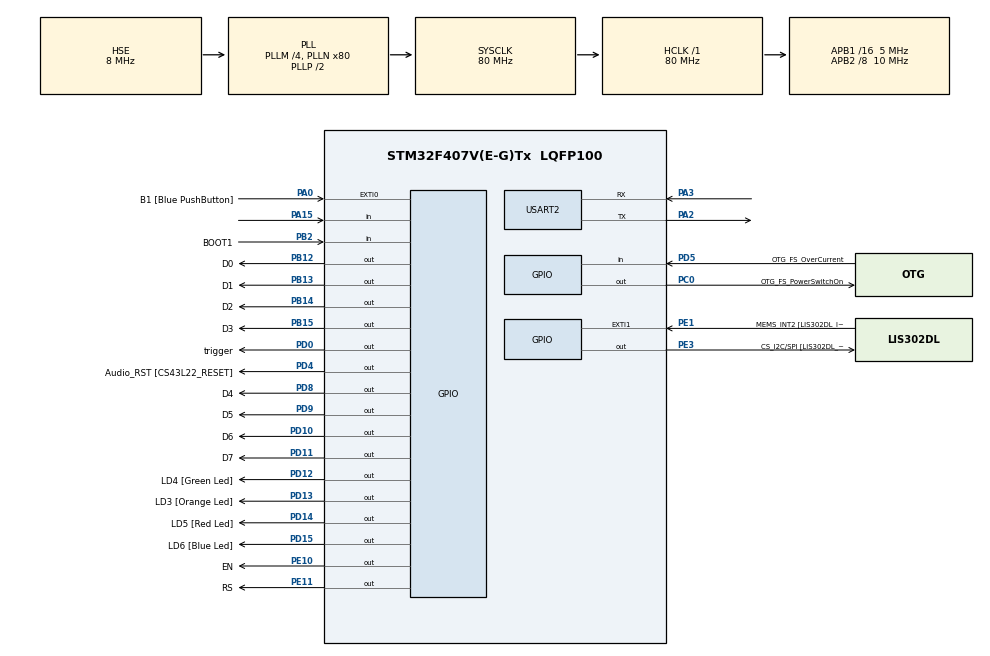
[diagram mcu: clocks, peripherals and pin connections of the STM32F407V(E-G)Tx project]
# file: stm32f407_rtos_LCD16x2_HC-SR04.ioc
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FREERTOS.Queues01=myQueue01,10,float,0,Dynamic,NULL,NULL
FREERTOS.Tasks01=defaultTask,24,128,StartDefaultTask,Default,NULL,Dynamic,NULL,NULL;myTask02,40,512,StartTask02,Default,NULL,Dynamic,NULL,NULL;myTask03,24,512,StartTask03,Default,NULL,Dynamic,NULL,NULL
FREERTOS.configUSE_NEWLIB_REENTRANT=1
Mcu.Family=STM32F4
Mcu.Name=STM32F407V(E-G)Tx
Mcu.Package=LQFP100
NVIC.PriorityGroup=NVIC_PRIORITYGROUP_4
NVIC.TIM1_UP_TIM10_IRQn=true\:15\:0\:false\:false\:true\:false\:false\:true\:true
NVIC.TimeBase=TIM1_UP_TIM10_IRQn
NVIC.TimeBaseIP=TIM1
PA0-WKUP.GPIO_Label=B1 [Blue PushButton]
PA0-WKUP.Signal=GPXTI0
PA10.GPIO_Label=OTG_FS_ID
PA10.GPIO_Mode=GPIO_MODE_AF_PP
PA10.GPIO_PuPd=GPIO_NOPULL
PA10.GPIO_Speed=GPIO_SPEED_FREQ_LOW
PA10.Signal=USB_OTG_FS_ID
PA11.GPIO_Label=OTG_FS_DM
PA11.GPIO_Mode=GPIO_MODE_AF_PP
PA11.GPIO_PuPd=GPIO_NOPULL
PA11.GPIO_Speed=GPIO_SPEED_FREQ_LOW
PA11.Signal=USB_OTG_FS_DM
PA12.GPIO_Label=OTG_FS_DP
PA12.GPIO_Mode=GPIO_MODE_AF_PP
PA12.GPIO_PuPd=GPIO_NOPULL
PA12.GPIO_Speed=GPIO_SPEED_FREQ_LOW
PA12.Signal=USB_OTG_FS_DP
PA13.GPIO_Label=SWDIO
PA13.Signal=SYS_JTMS-SWDIO
PA14.GPIO_Label=SWCLK
PA14.Signal=SYS_JTCK-SWCLK
PA15.Signal=GPIO_Input
PA2.Mode=Asynchronous
PA2.Signal=USART2_TX
PA3.Mode=Asynchronous
PA3.Signal=USART2_RX
PA4.GPIO_Label=I2S3_WS [CS43L22_LRCK]
PA4.GPIO_Mode=GPIO_MODE_AF_PP
PA4.GPIO_PuPd=GPIO_NOPULL
PA4.GPIO_Speed=GPIO_SPEED_FREQ_LOW
PA4.Signal=I2S3_WS
PA5.GPIO_Label=SPI1_SCK [LIS302DL_SCL/SPC]
PA5.GPIO_Mode=GPIO_MODE_AF_PP
PA5.GPIO_PuPd=GPIO_NOPULL
PA5.GPIO_Speed=GPIO_SPEED_FREQ_LOW
PA5.Signal=SPI1_SCK
PA6.GPIO_Label=SPI1_MISO [LIS302DL_SDO]
PA6.GPIO_Mode=GPIO_MODE_AF_PP
PA6.GPIO_PuPd=GPIO_NOPULL
PA6.GPIO_Speed=GPIO_SPEED_FREQ_LOW
PA6.Signal=SPI1_MISO
PA7.GPIO_Label=SPI1_MOSI [LIS302DL_SDA/SDI/SDO]
PA7.GPIO_Mode=GPIO_MODE_AF_PP
PA7.GPIO_PuPd=GPIO_NOPULL
PA7.GPIO_Speed=GPIO_SPEED_FREQ_LOW
PA7.Signal=SPI1_MOSI
PA9.GPIO_Label=VBUS_FS
PA9.GPIO_Mode=GPIO_MODE_INPUT
PA9.GPIO_PuPd=GPIO_NOPULL
PA9.Signal=USB_OTG_FS_VBUS
PB10.GPIO_Label=CLK_IN [MP45DT02_CLK]
PB10.GPIO_Mode=GPIO_MODE_AF_PP
PB10.GPIO_PuPd=GPIO_NOPULL
PB10.GPIO_Speed=GPIO_SPEED_FREQ_LOW
PB10.Signal=I2S2_CK
PB12.GPIO_Label=D0
PB12.Signal=GPIO_Output
PB13.GPIO_Label=D1
PB13.Signal=GPIO_Output
PB14.GPIO_Label=D2
PB14.Signal=GPIO_Output
PB15.GPIO_Label=D3
PB15.Signal=GPIO_Output
PB2.GPIO_Label=BOOT1
PB2.GPIO_Mode=GPIO_MODE_INPUT
PB2.GPIO_PuPd=GPIO_NOPULL
PB2.Signal=GPIO_Input
PB3.GPIO_Label=SWO
PB3.Signal=SYS_JTDO-SWO
PB6.GPIO_Label=Audio_SCL [CS43L22_SCL]
PB6.GPIO_Mode=GPIO_MODE_AF_OD
PB6.GPIO_PuPd=GPIO_NOPULL
PB6.GPIO_Speed=GPIO_SPEED_FREQ_LOW
PB6.Signal=I2C1_SCL
PB9.GPIO_Label=Audio_SDA [CS43L22_SDA]
PB9.GPIO_Mode=GPIO_MODE_AF_OD
PB9.GPIO_PuPd=GPIO_NOPULL
PB9.GPIO_Speed=GPIO_SPEED_FREQ_LOW
PB9.Signal=I2C1_SDA
PC0.GPIO_Label=OTG_FS_PowerSwitchOn
PC0.GPIO_PuPd=GPIO_NOPULL
PC0.GPIO_Speed=GPIO_SPEED_FREQ_LOW
PC0.PinState=GPIO_PIN_SET
PC0.Signal=GPIO_Output
PC10.GPIO_Label=I2S3_SCK [CS43L22_SCLK]
PC10.GPIO_Mode=GPIO_MODE_AF_PP
PC10.GPIO_PuPd=GPIO_NOPULL
PC10.GPIO_Speed=GPIO_SPEED_FREQ_LOW
PC10.Signal=I2S3_CK
PC12.GPIO_Label=I2S3_SD [CS43L22_SDIN]
PC12.GPIO_Mode=GPIO_MODE_AF_PP
PC12.GPIO_PuPd=GPIO_NOPULL
PC12.GPIO_Speed=GPIO_SPEED_FREQ_LOW
PC12.Signal=I2S3_SD
PC14-OSC32_IN.GPIO_Label=PC14-OSC32_IN
PC14-OSC32_IN.Signal=RCC_OSC32_IN
PC15-OSC32_OUT.GPIO_Label=PC15-OSC32_OUT
PC15-OSC32_OUT.Signal=RCC_OSC32_OUT
PC3.GPIO_Label=PDM_OUT [MP45DT02_DOUT]
PC3.GPIO_Mode=GPIO_MODE_AF_PP
PC3.GPIO_PuPd=GPIO_NOPULL
PC3.GPIO_Speed=GPIO_SPEED_FREQ_LOW
PC3.Signal=I2S2_SD
PC7.GPIO_Label=I2S3_MCK [CS43L22_MCLK]
PC7.GPIO_Mode=GPIO_MODE_AF_PP
PC7.GPIO_PuPd=GPIO_NOPULL
PC7.GPIO_Speed=GPIO_SPEED_FREQ_LOW
PC7.Signal=I2S3_MCK
PD0.GPIO_Label=trigger
PD0.Signal=GPIO_Output
PD10.GPIO_Label=D6
PD10.Signal=GPIO_Output
PD11.GPIO_Label=D7
PD11.Signal=GPIO_Output
PD12.GPIO_Label=LD4 [Green Led]
PD12.GPIO_PuPd=GPIO_NOPULL
PD12.GPIO_Speed=GPIO_SPEED_FREQ_LOW
PD12.Signal=GPIO_Output
PD13.GPIO_Label=LD3 [Orange Led]
PD13.GPIO_PuPd=GPIO_NOPULL
PD13.GPIO_Speed=GPIO_SPEED_FREQ_LOW
PD13.Signal=GPIO_Output
PD14.GPIO_Label=LD5 [Red Led]
PD14.GPIO_PuPd=GPIO_NOPULL
PD14.GPIO_Speed=GPIO_SPEED_FREQ_LOW
PD14.Signal=GPIO_Output
PD15.GPIO_Label=LD6 [Blue Led]
PD15.GPIO_PuPd=GPIO_NOPULL
PD15.GPIO_Speed=GPIO_SPEED_FREQ_LOW
PD15.Signal=GPIO_Output
PD4.GPIO_Label=Audio_RST [CS43L22_RESET]
PD4.GPIO_PuPd=GPIO_NOPULL
PD4.GPIO_Speed=GPIO_SPEED_FREQ_LOW
PD4.Signal=GPIO_Output
PD5.GPIO_Label=OTG_FS_OverCurrent
PD5.GPIO_Mode=GPIO_MODE_INPUT
PD5.GPIO_PuPd=GPIO_NOPULL
PD5.Signal=GPIO_Input
PD8.GPIO_Label=D4
PD8.Signal=GPIO_Output
PD9.GPIO_Label=D5
PD9.Signal=GPIO_Output
PE1.GPIO_Label=MEMS_INT2 [LIS302DL_INT2]
PE1.GPIO_ModeDefaultEXTI=GPIO_MODE_EVT_RISING
PE1.GPIO_PuPd=GPIO_NOPULL
PE1.Signal=GPXTI1
PE10.GPIO_Label=EN
PE10.Signal=GPIO_Output
PE11.GPIO_Label=RS
PE11.Signal=GPIO_Output
PE3.GPIO_Label=CS_I2C/SPI [LIS302DL_CS_I2C/SPI]
PE3.GPIO_PuPd=GPIO_NOPULL
PE3.GPIO_Speed=GPIO_SPEED_FREQ_LOW
PE3.Signal=GPIO_Output
PH0-OSC_IN.GPIO_Label=PH0-OSC_IN
PH0-OSC_IN.Mode=HSE-External-Oscillator
PH0-OSC_IN.Signal=RCC_OSC_IN
PH1-OSC_OUT.GPIO_Label=PH1-OSC_OUT
PH1-OSC_OUT.Mode=HSE-External-Oscillator
PH1-OSC_OUT.Signal=RCC_OSC_OUT
ProjectManager.HeapSize=0x200
ProjectManager.StackSize=0x400
ProjectManager.TargetToolchain=STM32CubeIDE
RCC.48MHZClocksFreq_Value=22857142.85714286
RCC.AHBFreq_Value=80000000
RCC.APB1CLKDivider=RCC_HCLK_DIV16
RCC.APB1Freq_Value=5000000
RCC.APB1TimFreq_Value=10000000
RCC.APB2CLKDivider=RCC_HCLK_DIV8
RCC.APB2Freq_Value=10000000
RCC.APB2TimFreq_Value=20000000
RCC.CortexFreq_Value=80000000
RCC.HCLKFreq_Value=80000000
RCC.HSE_VALUE=8000000
RCC.HSI_VALUE=16000000
RCC.LSE_VALUE=32768
RCC.PLLM=4
RCC.PLLN=80
RCC.PLLQ=7
RCC.PLLSourceVirtual=RCC_PLLSOURCE_HSE
RCC.SYSCLKFreq_VALUE=80000000
RCC.SYSCLKSource=RCC_SYSCLKSOURCE_PLLCLK
RCC.VCOOutputFreq_Value=160000000
TIM2.Prescaler=9
USART2.VirtualMode=VM_ASYNC
VP_FREERTOS_VS_CMSIS_V2.Mode=CMSIS_V2
VP_SYS_VS_tim1.Mode=TIM1
VP_TIM2_VS_ClockSourceINT.Mode=Internal
board=STM32F407G-DISC1

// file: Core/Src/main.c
/* USER CODE BEGIN Header */
/**
  ******************************************************************************
  * @file           : main.c
  * @brief          : Main program body
  ******************************************************************************
  * @attention
  *
  * Copyright (c) 2024 STMicroelectronics.
  * All rights reserved.
  *
  * This software is licensed under terms that can be found in the LICENSE file
  * in the root directory of this software component.
  * If no LICENSE file comes with this software, it is provided AS-IS.
  *
  ******************************************************************************
  */
/* USER CODE END Header */
#include "main.h"
#include "cmsis_os.h"

/* USER CODE BEGIN Includes */
#include "lcd16x2.h"
#include <stdio.h>
#include <string.h>
/* USER CODE END Includes */

/* USER CODE BEGIN PD */
#define TRIG_PIN GPIO_PIN_0
#define ECHO_PIN GPIO_PIN_15
#define TRIG_PORT GPIOD
#define ECHO_PORT GPIOA
#define TRIGGER_DELAY_US 10 // Trigger pulse duration in microseconds
/* USER CODE END PD */

/* USER CODE BEGIN PM */
uint32_t pMillis;

float val1 = 0;
float val2 = 0;
float distance  = 0;
char string[15];
/* USER CODE END PM */

TIM_HandleTypeDef htim2;

UART_HandleTypeDef huart2;

/* Definitions for defaultTask */
osThreadId_t defaultTaskHandle;
const osThreadAttr_t defaultTask_attributes = {
  .name = "defaultTask",
  .stack_size = 128 * 4,
  .priority = (osPriority_t) osPriorityNormal,
};
/* Definitions for myTask02 */
osThreadId_t myTask02Handle;
const osThreadAttr_t myTask02_attributes = {
  .name = "myTask02",
  .stack_size = 512 * 4,
  .priority = (osPriority_t) osPriorityHigh,
};
/* Definitions for myTask03 */
osThreadId_t myTask03Handle;
const osThreadAttr_t myTask03_attributes = {
  .name = "myTask03",
  .stack_size = 512 * 4,
  .priority = (osPriority_t) osPriorityNormal,
};
/* Definitions for myQueue01 */
osMessageQueueId_t myQueue01Handle;
const osMessageQueueAttr_t myQueue01_attributes = {
  .name = "myQueue01"
};

void SystemClock_Config(void);
static void MX_GPIO_Init(void);
static void MX_TIM2_Init(void);
static void MX_USART2_UART_Init(void);
void StartDefaultTask(void *argument);
void StartTask02(void *argument);
void StartTask03(void *argument);

/* USER CODE BEGIN 0 */
void Delay_10us(void);
/* USER CODE END 0 */

int main(void)
{

  /* MCU Configuration--------------------------------------------------------*/

  /* Reset of all peripherals, Initializes the Flash interface and the Systick. */
  HAL_Init();

  /* Configure the system clock */
  SystemClock_Config();

  /* Initialize all configured peripherals */
  MX_GPIO_Init();
  MX_TIM2_Init();
  MX_USART2_UART_Init();
  /* USER CODE BEGIN 2 */

  /*

   lcd16x2_init_4bits(RS_GPIO_Port, RS_Pin, EN_Pin, //One Port
 		  	  	  	 D4_GPIO_Port, D4_Pin, D5_Pin, D6_Pin, D7_Pin); //One Port
   lcd16x2_printf("Hello World");
   HAL_Delay(3000);

   */

  /* USER CODE END 2 */

  /* Init scheduler */
  osKernelInitialize();

  /* Create the queue(s) */
  /* creation of myQueue01 */
  myQueue01Handle = osMessageQueueNew (10, sizeof(float), &myQueue01_attributes);

  /* Create the thread(s) */
  /* creation of defaultTask */
  defaultTaskHandle = osThreadNew(StartDefaultTask, NULL, &defaultTask_attributes);

  /* creation of myTask02 */
  myTask02Handle = osThreadNew(StartTask02, NULL, &myTask02_attributes);

  /* creation of myTask03 */
  myTask03Handle = osThreadNew(StartTask03, NULL, &myTask03_attributes);

  /* USER CODE BEGIN RTOS_THREADS */
  /* add threads, ... */
  char buffer[50];
           snprintf(buffer, sizeof(buffer), "Handle initialized\r\n");
           HAL_UART_Transmit(&huart2, (uint8_t*)buffer, strlen(buffer), HAL_MAX_DELAY);
  /* USER CODE END RTOS_THREADS */

  /* Start scheduler */
  osKernelStart();

  /* We should never get here as control is now taken by the scheduler */
  /* Infinite loop */
  while (1)
  {

  }
}

void SystemClock_Config(void)
{
  RCC_OscInitTypeDef RCC_OscInitStruct = {0};
  RCC_ClkInitTypeDef RCC_ClkInitStruct = {0};

  /** Configure the main internal regulator output voltage
  */
  __HAL_RCC_PWR_CLK_ENABLE();
  __HAL_PWR_VOLTAGESCALING_CONFIG(PWR_REGULATOR_VOLTAGE_SCALE1);

  /** Initializes the RCC Oscillators according to the specified parameters
  * in the RCC_OscInitTypeDef structure.
  */
  RCC_OscInitStruct.OscillatorType = RCC_OSCILLATORTYPE_HSE;
  RCC_OscInitStruct.HSEState = RCC_HSE_ON;
  RCC_OscInitStruct.PLL.PLLState = RCC_PLL_ON;
  RCC_OscInitStruct.PLL.PLLSource = RCC_PLLSOURCE_HSE;
  RCC_OscInitStruct.PLL.PLLM = 4;
  RCC_OscInitStruct.PLL.PLLN = 80;
  RCC_OscInitStruct.PLL.PLLP = RCC_PLLP_DIV2;
  RCC_OscInitStruct.PLL.PLLQ = 7;
  if (HAL_RCC_OscConfig(&RCC_OscInitStruct) != HAL_OK)
  {
    Error_Handler();
  }

  /** Initializes the CPU, AHB and APB buses clocks
  */
  RCC_ClkInitStruct.ClockType = RCC_CLOCKTYPE_HCLK|RCC_CLOCKTYPE_SYSCLK
                              |RCC_CLOCKTYPE_PCLK1|RCC_CLOCKTYPE_PCLK2;
  RCC_ClkInitStruct.SYSCLKSource = RCC_SYSCLKSOURCE_PLLCLK;
  RCC_ClkInitStruct.AHBCLKDivider = RCC_SYSCLK_DIV1;
  RCC_ClkInitStruct.APB1CLKDivider = RCC_HCLK_DIV16;
  RCC_ClkInitStruct.APB2CLKDivider = RCC_HCLK_DIV8;

  if (HAL_RCC_ClockConfig(&RCC_ClkInitStruct, FLASH_LATENCY_2) != HAL_OK)
  {
    Error_Handler();
  }
}

static void MX_TIM2_Init(void)
{

  TIM_ClockConfigTypeDef sClockSourceConfig = {0};
  TIM_MasterConfigTypeDef sMasterConfig = {0};

  htim2.Instance = TIM2;
  htim2.Init.Prescaler = 9;
  htim2.Init.CounterMode = TIM_COUNTERMODE_UP;
  htim2.Init.Period = 4294967295;
  htim2.Init.ClockDivision = TIM_CLOCKDIVISION_DIV1;
  htim2.Init.AutoReloadPreload = TIM_AUTORELOAD_PRELOAD_DISABLE;
  if (HAL_TIM_Base_Init(&htim2) != HAL_OK)
  {
    Error_Handler();
  }
  sClockSourceConfig.ClockSource = TIM_CLOCKSOURCE_INTERNAL;
  if (HAL_TIM_ConfigClockSource(&htim2, &sClockSourceConfig) != HAL_OK)
  {
    Error_Handler();
  }
  sMasterConfig.MasterOutputTrigger = TIM_TRGO_RESET;
  sMasterConfig.MasterSlaveMode = TIM_MASTERSLAVEMODE_DISABLE;
  if (HAL_TIMEx_MasterConfigSynchronization(&htim2, &sMasterConfig) != HAL_OK)
  {
    Error_Handler();
  }

}

static void MX_USART2_UART_Init(void)
{

  huart2.Instance = USART2;
  huart2.Init.BaudRate = 115200;
  huart2.Init.WordLength = UART_WORDLENGTH_8B;
  huart2.Init.StopBits = UART_STOPBITS_1;
  huart2.Init.Parity = UART_PARITY_NONE;
  huart2.Init.Mode = UART_MODE_TX_RX;
  huart2.Init.HwFlowCtl = UART_HWCONTROL_NONE;
  huart2.Init.OverSampling = UART_OVERSAMPLING_16;
  if (HAL_UART_Init(&huart2) != HAL_OK)
  {
    Error_Handler();
  }

}

static void MX_GPIO_Init(void)
{
  GPIO_InitTypeDef GPIO_InitStruct = {0};

  /* GPIO Ports Clock Enable */
  __HAL_RCC_GPIOE_CLK_ENABLE();
  __HAL_RCC_GPIOC_CLK_ENABLE();
  __HAL_RCC_GPIOH_CLK_ENABLE();
  __HAL_RCC_GPIOA_CLK_ENABLE();
  __HAL_RCC_GPIOB_CLK_ENABLE();
  __HAL_RCC_GPIOD_CLK_ENABLE();

  /*Configure GPIO pin Output Level */
  HAL_GPIO_WritePin(GPIOE, CS_I2C_SPI_Pin|EN_Pin|RS_Pin, GPIO_PIN_RESET);

  /*Configure GPIO pin Output Level */
  HAL_GPIO_WritePin(OTG_FS_PowerSwitchOn_GPIO_Port, OTG_FS_PowerSwitchOn_Pin, GPIO_PIN_SET);

  /*Configure GPIO pin Output Level */
  HAL_GPIO_WritePin(GPIOB, D0_Pin|D1_Pin|D2_Pin|D3_Pin, GPIO_PIN_RESET);

  /*Configure GPIO pin Output Level */
  HAL_GPIO_WritePin(GPIOD, D4_Pin|D5_Pin|D6_Pin|D7_Pin
                          |LD4_Pin|LD3_Pin|LD5_Pin|LD6_Pin
                          |trigger_Pin|Audio_RST_Pin, GPIO_PIN_RESET);

  /*Configure GPIO pins : CS_I2C_SPI_Pin EN_Pin RS_Pin */
  GPIO_InitStruct.Pin = CS_I2C_SPI_Pin|EN_Pin|RS_Pin;
  GPIO_InitStruct.Mode = GPIO_MODE_OUTPUT_PP;
  GPIO_InitStruct.Pull = GPIO_NOPULL;
  GPIO_InitStruct.Speed = GPIO_SPEED_FREQ_LOW;
  HAL_GPIO_Init(GPIOE, &GPIO_InitStruct);

  /*Configure GPIO pin : OTG_FS_PowerSwitchOn_Pin */
  GPIO_InitStruct.Pin = OTG_FS_PowerSwitchOn_Pin;
  GPIO_InitStruct.Mode = GPIO_MODE_OUTPUT_PP;
  GPIO_InitStruct.Pull = GPIO_NOPULL;
  GPIO_InitStruct.Speed = GPIO_SPEED_FREQ_LOW;
  HAL_GPIO_Init(OTG_FS_PowerSwitchOn_GPIO_Port, &GPIO_InitStruct);

  /*Configure GPIO pin : PDM_OUT_Pin */
  GPIO_InitStruct.Pin = PDM_OUT_Pin;
  GPIO_InitStruct.Mode = GPIO_MODE_AF_PP;
  GPIO_InitStruct.Pull = GPIO_NOPULL;
  GPIO_InitStruct.Speed = GPIO_SPEED_FREQ_LOW;
  GPIO_InitStruct.Alternate = GPIO_AF5_SPI2;
  HAL_GPIO_Init(PDM_OUT_GPIO_Port, &GPIO_InitStruct);

  /*Configure GPIO pin : B1_Pin */
  GPIO_InitStruct.Pin = B1_Pin;
  GPIO_InitStruct.Mode = GPIO_MODE_IT_RISING;
  GPIO_InitStruct.Pull = GPIO_NOPULL;
  HAL_GPIO_Init(B1_GPIO_Port, &GPIO_InitStruct);

  /*Configure GPIO pin : I2S3_WS_Pin */
  GPIO_InitStruct.Pin = I2S3_WS_Pin;
  GPIO_InitStruct.Mode = GPIO_MODE_AF_PP;
  GPIO_InitStruct.Pull = GPIO_NOPULL;
  GPIO_InitStruct.Speed = GPIO_SPEED_FREQ_LOW;
  GPIO_InitStruct.Alternate = GPIO_AF6_SPI3;
  HAL_GPIO_Init(I2S3_WS_GPIO_Port, &GPIO_InitStruct);

  /*Configure GPIO pins : SPI1_SCK_Pin SPI1_MISO_Pin SPI1_MOSI_Pin */
  GPIO_InitStruct.Pin = SPI1_SCK_Pin|SPI1_MISO_Pin|SPI1_MOSI_Pin;
  GPIO_InitStruct.Mode = GPIO_MODE_AF_PP;
  GPIO_InitStruct.Pull = GPIO_NOPULL;
  GPIO_InitStruct.Speed = GPIO_SPEED_FREQ_LOW;
  GPIO_InitStruct.Alternate = GPIO_AF5_SPI1;
  HAL_GPIO_Init(GPIOA, &GPIO_InitStruct);

  /*Configure GPIO pin : BOOT1_Pin */
  GPIO_InitStruct.Pin = BOOT1_Pin;
  GPIO_InitStruct.Mode = GPIO_MODE_INPUT;
  GPIO_InitStruct.Pull = GPIO_NOPULL;
  HAL_GPIO_Init(BOOT1_GPIO_Port, &GPIO_InitStruct);

  /*Configure GPIO pin : CLK_IN_Pin */
  GPIO_InitStruct.Pin = CLK_IN_Pin;
  GPIO_InitStruct.Mode = GPIO_MODE_AF_PP;
  GPIO_InitStruct.Pull = GPIO_NOPULL;
  GPIO_InitStruct.Speed = GPIO_SPEED_FREQ_LOW;
  GPIO_InitStruct.Alternate = GPIO_AF5_SPI2;
  HAL_GPIO_Init(CLK_IN_GPIO_Port, &GPIO_InitStruct);

  /*Configure GPIO pins : D0_Pin D1_Pin D2_Pin D3_Pin */
  GPIO_InitStruct.Pin = D0_Pin|D1_Pin|D2_Pin|D3_Pin;
  GPIO_InitStruct.Mode = GPIO_MODE_OUTPUT_PP;
  GPIO_InitStruct.Pull = GPIO_NOPULL;
  GPIO_InitStruct.Speed = GPIO_SPEED_FREQ_LOW;
  HAL_GPIO_Init(GPIOB, &GPIO_InitStruct);

  /*Configure GPIO pins : D4_Pin D5_Pin D6_Pin D7_Pin
                           LD4_Pin LD3_Pin LD5_Pin LD6_Pin
                           trigger_Pin Audio_RST_Pin */
  GPIO_InitStruct.Pin = D4_Pin|D5_Pin|D6_Pin|D7_Pin
                          |LD4_Pin|LD3_Pin|LD5_Pin|LD6_Pin
                          |trigger_Pin|Audio_RST_Pin;
  GPIO_InitStruct.Mode = GPIO_MODE_OUTPUT_PP;
  GPIO_InitStruct.Pull = GPIO_NOPULL;
  GPIO_InitStruct.Speed = GPIO_SPEED_FREQ_LOW;
  HAL_GPIO_Init(GPIOD, &GPIO_InitStruct);

  /*Configure GPIO pins : I2S3_MCK_Pin I2S3_SCK_Pin I2S3_SD_Pin */
  GPIO_InitStruct.Pin = I2S3_MCK_Pin|I2S3_SCK_Pin|I2S3_SD_Pin;
  GPIO_InitStruct.Mode = GPIO_MODE_AF_PP;
  GPIO_InitStruct.Pull = GPIO_NOPULL;
  GPIO_InitStruct.Speed = GPIO_SPEED_FREQ_LOW;
  GPIO_InitStruct.Alternate = GPIO_AF6_SPI3;
  HAL_GPIO_Init(GPIOC, &GPIO_InitStruct);

  /*Configure GPIO pin : VBUS_FS_Pin */
  GPIO_InitStruct.Pin = VBUS_FS_Pin;
  GPIO_InitStruct.Mode = GPIO_MODE_INPUT;
  GPIO_InitStruct.Pull = GPIO_NOPULL;
  HAL_GPIO_Init(VBUS_FS_GPIO_Port, &GPIO_InitStruct);

  /*Configure GPIO pins : OTG_FS_ID_Pin OTG_FS_DM_Pin OTG_FS_DP_Pin */
  GPIO_InitStruct.Pin = OTG_FS_ID_Pin|OTG_FS_DM_Pin|OTG_FS_DP_Pin;
  GPIO_InitStruct.Mode = GPIO_MODE_AF_PP;
  GPIO_InitStruct.Pull = GPIO_NOPULL;
  GPIO_InitStruct.Speed = GPIO_SPEED_FREQ_LOW;
  GPIO_InitStruct.Alternate = GPIO_AF10_OTG_FS;
  HAL_GPIO_Init(GPIOA, &GPIO_InitStruct);

  /*Configure GPIO pin : PA15 */
  GPIO_InitStruct.Pin = GPIO_PIN_15;
  GPIO_InitStruct.Mode = GPIO_MODE_INPUT;
  GPIO_InitStruct.Pull = GPIO_NOPULL;
  HAL_GPIO_Init(GPIOA, &GPIO_InitStruct);

  /*Configure GPIO pin : OTG_FS_OverCurrent_Pin */
  GPIO_InitStruct.Pin = OTG_FS_OverCurrent_Pin;
  GPIO_InitStruct.Mode = GPIO_MODE_INPUT;
  GPIO_InitStruct.Pull = GPIO_NOPULL;
  HAL_GPIO_Init(OTG_FS_OverCurrent_GPIO_Port, &GPIO_InitStruct);

  /*Configure GPIO pins : Audio_SCL_Pin Audio_SDA_Pin */
  GPIO_InitStruct.Pin = Audio_SCL_Pin|Audio_SDA_Pin;
  GPIO_InitStruct.Mode = GPIO_MODE_AF_OD;
  GPIO_InitStruct.Pull = GPIO_NOPULL;
  GPIO_InitStruct.Speed = GPIO_SPEED_FREQ_LOW;
  GPIO_InitStruct.Alternate = GPIO_AF4_I2C1;
  HAL_GPIO_Init(GPIOB, &GPIO_InitStruct);

  /*Configure GPIO pin : MEMS_INT2_Pin */
  GPIO_InitStruct.Pin = MEMS_INT2_Pin;
  GPIO_InitStruct.Mode = GPIO_MODE_EVT_RISING;
  GPIO_InitStruct.Pull = GPIO_NOPULL;
  HAL_GPIO_Init(MEMS_INT2_GPIO_Port, &GPIO_InitStruct);

}

void StartDefaultTask(void *argument)
{
  /* USER CODE BEGIN 5 */
  /* Infinite loop */
  for(;;)
  {
    osDelay(10);
  }
  /* USER CODE END 5 */
}

void StartTask02(void *argument)
{
  /* USER CODE BEGIN StartTask02 */
	for (;;) {
	   char buffer[50];
	 // Trigger pulse
	  HAL_GPIO_WritePin(TRIG_PORT, TRIG_PIN, GPIO_PIN_RESET);
	  __HAL_TIM_SET_COUNTER(&htim2, 0);
	  HAL_GPIO_WritePin(TRIG_PORT, TRIG_PIN, GPIO_PIN_SET);
	  HAL_TIM_Base_Start(&htim2);
	   snprintf(buffer, sizeof(buffer), "B1");
	   while (__HAL_TIM_GET_COUNTER (&htim2) < 10);  // wait for 10 us

	   HAL_GPIO_WritePin(TRIG_PORT, TRIG_PIN, GPIO_PIN_RESET);

	   pMillis = HAL_GetTick();
	   while (!(HAL_GPIO_ReadPin (ECHO_PORT, ECHO_PIN)) && pMillis + 10 >  HAL_GetTick());
	   val1 = __HAL_TIM_GET_COUNTER (&htim2);
	   snprintf(buffer, sizeof(buffer), "B2");
	   pMillis = HAL_GetTick();
	   while ((HAL_GPIO_ReadPin (ECHO_PORT, ECHO_PIN)) && pMillis + 50 > HAL_GetTick());
	   val2 = __HAL_TIM_GET_COUNTER (&htim2);

	   	distance = (val2-val1)*5000;

	   	snprintf(buffer, sizeof(buffer), "Distance Is: %.2f\r\n", distance);

/*
	 osStatus_t status;
     // Put the message in the queue with a timeout
     status = osMessageQueuePut(myQueue01Handle, &distance, 0, 500);

     if (status != osOK) {
         // Handle queue put error
         char buffer[50];
         snprintf(buffer, sizeof(buffer), "Queue Put Error: %d\r\n", status);
         HAL_UART_Transmit(&huart2, (uint8_t*)buffer, strlen(buffer), HAL_MAX_DELAY);
     }
*/
     osDelay(10); // Adjust the delay as needed
	}
  /* USER CODE END StartTask02 */
}

/* USER CODE BEGIN Header_StartTask03 */
/**
* @brief Function implementing the myTask03 threadr
* @param argument: Not used
* @retval None
*/
/* USER CODE END Header_StartTask03 */
void StartTask03(void *argument)
{
  /* USER CODE BEGIN StartTask03 */
	//char buffer[50];
	//osStatus_t status;

	for (;;) {
	    // Wait for a message from the queue with a finite timeout (100 milliseconds)
	   // status = osMessageQueueGet(myQueue01Handle, &distance, NULL, 100);
	    //if (status == osOK) {
	     //  snprintf(buffer, sizeof(buffer), "Distance: %.2f\r\n", distance);
	    //   HAL_UART_Transmit(&huart2, (uint8_t*)buffer, strlen(buffer), HAL_MAX_DELAY);
	    //}
	    osDelay(10); // Adjust the delay as needed
	}
  /* USER CODE END StartTask03 */
}

void HAL_TIM_PeriodElapsedCallback(TIM_HandleTypeDef *htim)
{
  if (htim->Instance == TIM1) {
    HAL_IncTick();
  }
  /* USER CODE BEGIN Callback 1 */
}

void Delay_10us(void) {
    uint32_t startTick = __HAL_TIM_GET_COUNTER(&htim2);
    uint32_t delayTicks = 10; // 10 µs

    // Instead of busy-waiting, yield to the scheduler
    while ((__HAL_TIM_GET_COUNTER(&htim2) - startTick) < delayTicks) {
        taskYIELD(); // Yield to other tasks
    }
}
  /* USER CODE END Callback 1 */

void Error_Handler(void)
{
  __disable_irq();
  while (1)
  {
  }
}
